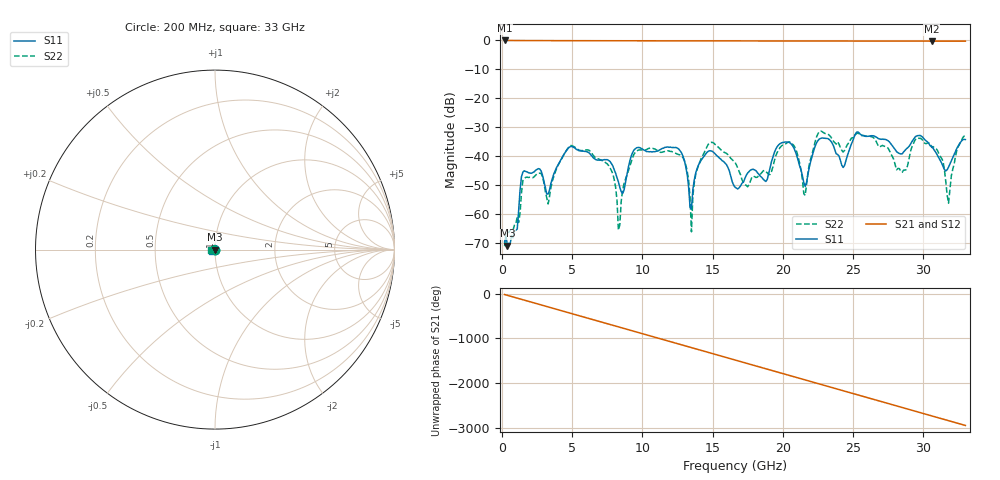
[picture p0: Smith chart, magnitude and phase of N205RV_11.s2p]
# GHZ S RI R 50
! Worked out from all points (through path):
!   329 points, 200 MHz to 33 GHz, reference 50 ohm
!   highest |S21| = -0.02 dB at 200 MHz (marker M1); lowest = -0.3 dB at 30.6 GHz (marker M2)
!   group delay of S21, straight-line fit = 248 ps
!   lowest |S11| = -71.1 dB at 400 MHz (marker M3), VSWR 1.00, Z = 50 - j0.000518 ohm
!   |S11| at or under -10 dB: start of sweep to end of sweep
!   |S22| runs from -71.2 to -31.4 dB; largest |S21 - S12| = 0.0019
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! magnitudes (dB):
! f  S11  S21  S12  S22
! 200 MHz  -69.8  0.0  0.0  -71.2
! 400 MHz  -71.1  0.0  0.0  -66.1
! 1.1 GHz  -65.3  0.0  0.0  -61.2
! 1.5 GHz  -45.6  -0.1  -0.1  -48.5
! 3.3 GHz  -53.2  -0.1  -0.1  -56.6
! 5.7 GHz  -38.3  -0.1  -0.1  -38.2
! 7.8 GHz  -42.6  -0.1  -0.1  -45.0
! 8.3 GHz  -49.0  -0.1  -0.1  -65.7
! 9.4 GHz  -38.0  -0.1  -0.1  -39.5
! 11.2 GHz  -38.0  -0.1  -0.1  -38.6
! 13 GHz  -41.6  -0.2  -0.2  -41.7
! 13.5 GHz  -58.4  -0.2  -0.2  -66.3
! 13.8 GHz  -46.0  -0.2  -0.2  -46.5
! 14.7 GHz  -38.4  -0.2  -0.2  -36.0
! 16.6 GHz  -50.8  -0.2  -0.2  -42.2
! 20.5 GHz  -35.4  -0.2  -0.2  -35.2
! 21.6 GHz  -50.6  -0.2  -0.2  -53.7
! 22.1 GHz  -39.9  -0.2  -0.2  -39.1
! 27.6 GHz  -35.2  -0.2  -0.2  -38.3
! 30.6 GHz  -36.7  -0.3  -0.3  -37.1
! 31.8 GHz  -43.9  -0.3  -0.3  -56.4
! 33 GHz  -34.3  -0.3  -0.3  -33.0
